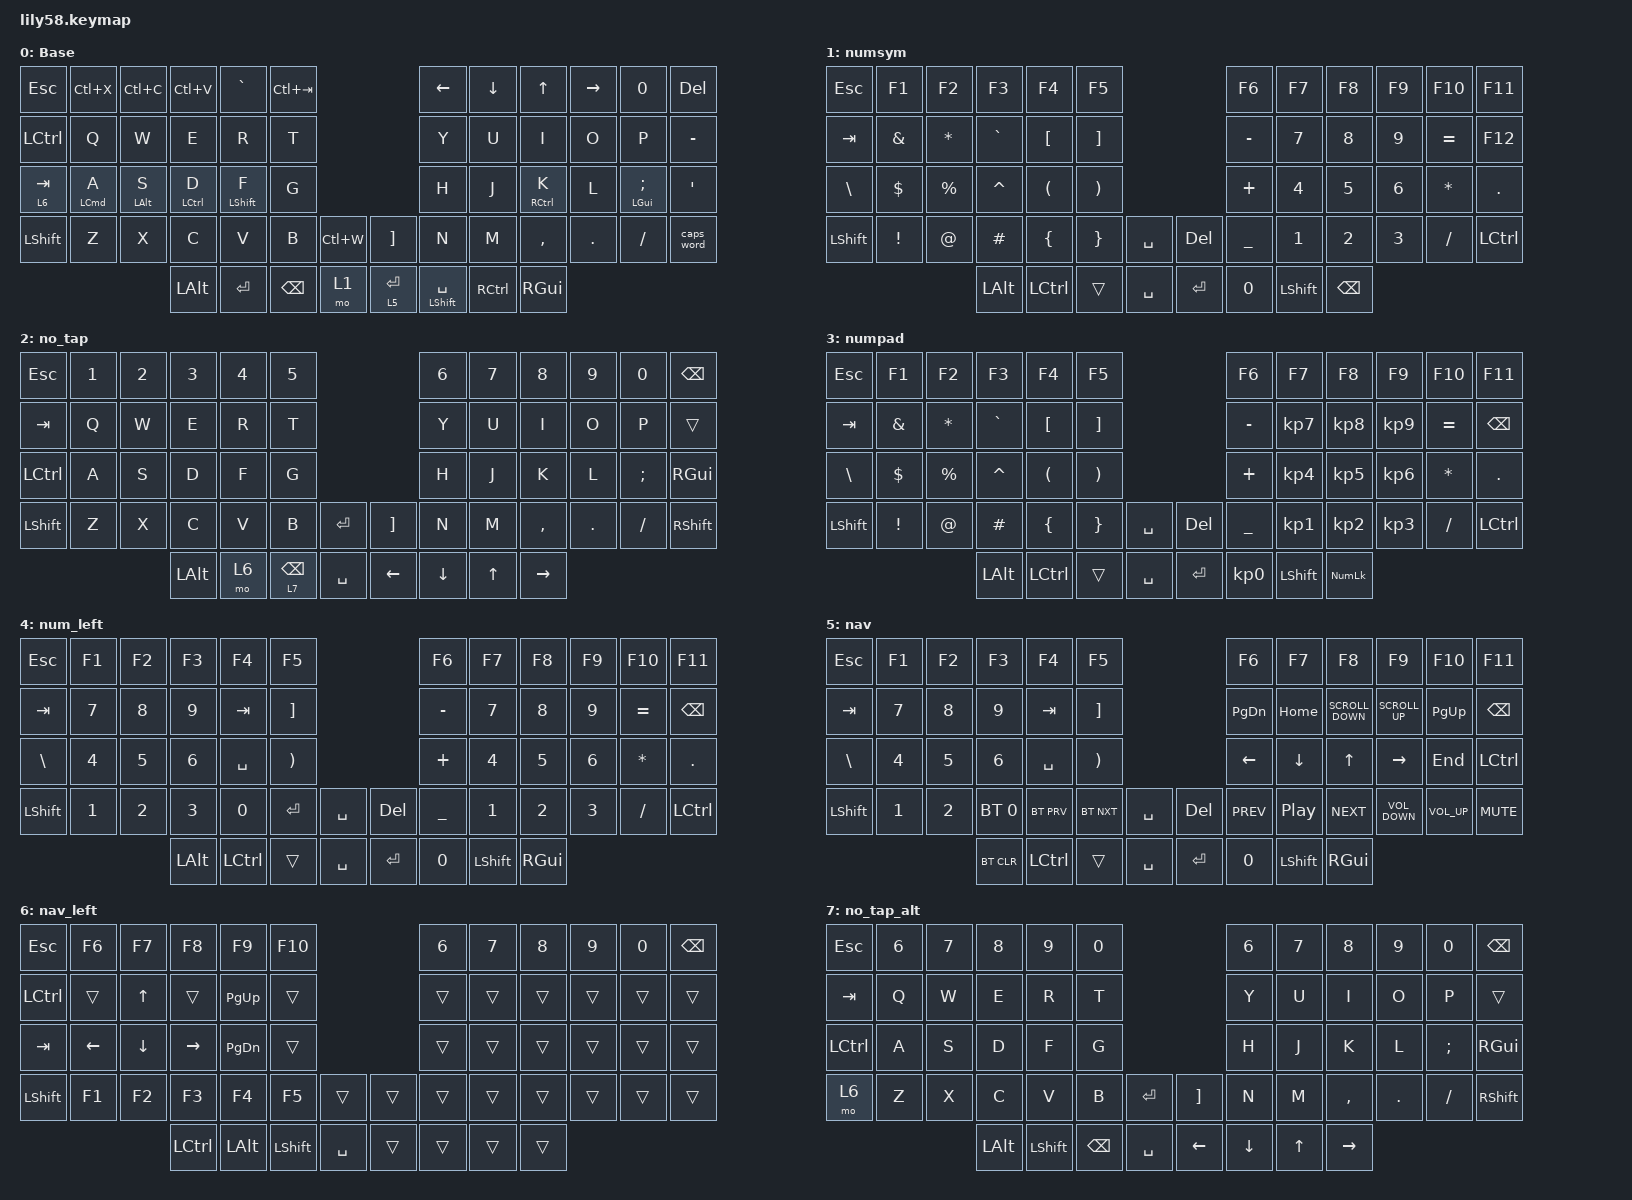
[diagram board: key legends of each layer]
/*
 * Copyright (c) 2020 The ZMK Contributors
 *
 * SPDX-License-Identifier: MIT
 */

#include <behaviors.dtsi>
#include <dt-bindings/zmk/bt.h>
#include <dt-bindings/zmk/keys.h>

&mt { flavor = "tap-preferred"; };

/ {
    combos {
        compatible = "zmk,combos";

        to_no_tap {
            bindings = <&to 2>;
            key-positions = <53 52 51>;
            layers = <0>;
        };

        back_to_base {
            bindings = <&to 0>;
            key-positions = <51 52 53>;
            layers = <2>;
        };

        to_numpad {
            bindings = <&to 3>;
            key-positions = <54 55 56>;
            layers = <0>;
        };

        np_to_base {
            bindings = <&to 0>;
            key-positions = <55 54 56>;
            layers = <3>;
        };
    };

    keymap {
        compatible = "zmk,keymap";

        default_layer {
            // ------------------------------------------------------------------------------------------------------------
            // |  ESC  |  1  |  2  |  3   |  4   |  5   |                   |  6   |  7    |  8    |  9   |   0   |   `   |
            // |  TAB  |  Q  |  W  |  E   |  R   |  T   |                   |  Y   |  U    |  I    |  O   |   P   |   -   |
            // |  CTRL |  A  |  S  |  D   |  F   |  G   |                   |  H   |  J    |  K    |  L   |   ;   |   '   |
            // | SHIFT |  Z  |  X  |  C   |  V   |  B   |   "["  |  |  "]"  |  N   |  M    |  ,    |  .   |   /   | SHIFT |
            //                     | ALT  | GUI  | LOWER|  SPACE |  | ENTER | RAISE| BSPC  | GUI   |

            display-name = "Base";
            bindings = <
&kp ESC    &kp LC(X)   &kp LC(C)   &kp LC(V)    &kp GRAVE         &kp LC(TAB)                                    &kp LEFT              &kp DOWN   &kp UP_ARROW  &kp RIGHT  &kp N0             &kp DELETE
&kp LCTRL  &kp Q       &kp W       &kp E        &kp R             &kp T                                          &kp Y                 &kp U      &kp I         &kp O      &kp P              &kp MINUS
&lt 6 TAB  &mt LCMD A  &mt LALT S  &mt LCTRL D  &mt LEFT_SHIFT F  &kp G                                          &kp H                 &kp J      &mt RCTRL K   &kp L      &mt LEFT_GUI SEMI  &kp SQT
&kp LSHFT  &kp Z       &kp X       &kp C        &kp V             &kp B          &kp LC(W)    &kp RIGHT_BRACKET  &kp N                 &kp M      &kp COMMA     &kp DOT    &kp FSLH           &caps_word
                                   &kp LALT     &kp ENTER         &kp BACKSPACE  &mo 1        &lt 5 ENTER        &mt LEFT_SHIFT SPACE  &kp RCTRL  &kp RGUI
            >;
        };

        numsym {
            // ------------------------------------------------------------------------------------------------------------
            // | BTCLR | BT1 | BT2 |  BT3 |  BT4 |  BT5 |                   |      |       |       |      |       |       |
            // |  F1   |  F2 |  F3 |  F4  |  F5  |  F6  |                   |  F7  |  F8   |  F9   |  F10 |  F11  |  F12  |
            // |   `   |  !  |  @  |  #   |  $   |  %   |                   |  ^   |  &    |  *    |  (   |   )   |   ~   |
            // |       |     |     |      |      |      |        |  |       |      |  _    |  +    |  {   |   }   |  "|"  |
            //                     |      |      |      |        |  |       |      |       |       |

            display-name = "numsym";
            bindings = <
&kp ESC    &kp F1      &kp F2     &kp F3     &kp F4                &kp F5                                         &kp F6     &kp F7     &kp F8         &kp F9  &kp F10    &kp F11
&kp TAB    &kp AMPS    &kp STAR   &kp GRAVE  &kp LBKT              &kp RBKT                                       &kp MINUS  &kp N7     &kp N8         &kp N9  &kp EQUAL  &kp F12
&kp BSLH   &kp DOLLAR  &kp PRCNT  &kp CARET  &kp LEFT_PARENTHESIS  &kp RIGHT_PARENTHESIS                          &kp PLUS   &kp N4     &kp N5         &kp N6  &kp STAR   &kp DOT
&kp LSHFT  &kp EXCL    &kp AT     &kp POUND  &kp LEFT_BRACE        &kp RIGHT_BRACE        &kp SPACE    &kp DEL    &kp UNDER  &kp N1     &kp N2         &kp N3  &kp FSLH   &kp LCTRL
                                  &kp LALT   &kp LCTRL             &trans                 &kp SPACE    &kp ENTER  &kp N0     &kp LSHFT  &kp BACKSPACE
            >;
        };

        no_tap {
            // ------------------------------------------------------------------------------------------------------------
            // |       |     |     |      |      |      |                   |      |       |       |      |       |       |
            // |   `   |  1  |  2  |  3   |  4   |  5   |                   |  6   |   7   |   8   |  9   |   0   |       |
            // |   F1  |  F2 |  F3 |  F4  |  F5  |  F6  |                   |      |   <-  |   v   |  ^   |  ->   |       |
            // |   F7  |  F8 |  F9 |  F10 |  F11 |  F12 |        |  |       |  +   |   -   |   =   |  [   |   ]   |   \   |
            //                     |      |      |      |        |  |       |      |       |       |

            display-name = "no_tap";
            bindings = <
&kp ESC         &kp N1  &kp N2  &kp N3    &kp N4  &kp N5                                  &kp N6    &kp N7        &kp N8     &kp N9   &kp N0    &kp BSPC
&kp TAB         &kp Q   &kp W   &kp E     &kp R   &kp T                                   &kp Y     &kp U         &kp I      &kp O    &kp P     &trans
&kp LCTRL       &kp A   &kp S   &kp D     &kp F   &kp G                                   &kp H     &kp J         &kp K      &kp L    &kp SEMI  &kp RIGHT_GUI
&kp LEFT_SHIFT  &kp Z   &kp X   &kp C     &kp V   &kp B            &kp ENTER    &kp RBKT  &kp N     &kp M         &kp COMMA  &kp DOT  &kp FSLH  &kp RSHFT
                                &kp LALT  &mo 6   &lt 7 BACKSPACE  &kp SPACE    &kp LEFT  &kp DOWN  &kp UP_ARROW  &kp RIGHT
            >;
        };

        numpad {
            display-name = "numpad";
            bindings = <
&kp ESC    &kp F1      &kp F2     &kp F3     &kp F4                &kp F5                                         &kp F6     &kp F7     &kp F8          &kp F9     &kp F10    &kp F11
&kp TAB    &kp AMPS    &kp STAR   &kp GRAVE  &kp LBKT              &kp RBKT                                       &kp MINUS  &kp KP_N7  &kp KP_N8       &kp KP_N9  &kp EQUAL  &kp BSPC
&kp BSLH   &kp DOLLAR  &kp PRCNT  &kp CARET  &kp LEFT_PARENTHESIS  &kp RIGHT_PARENTHESIS                          &kp PLUS   &kp KP_N4  &kp KP_N5       &kp KP_N6  &kp STAR   &kp DOT
&kp LSHFT  &kp EXCL    &kp AT     &kp POUND  &kp LEFT_BRACE        &kp RIGHT_BRACE        &kp SPACE    &kp DEL    &kp UNDER  &kp KP_N1  &kp KP_N2       &kp KP_N3  &kp FSLH   &kp LCTRL
                                  &kp LALT   &kp LCTRL             &trans                 &kp SPACE    &kp ENTER  &kp KP_N0  &kp LSHFT  &kp KP_NUMLOCK
            >;
        };

        num_left {
            display-name = "num_left";
            bindings = <
&kp ESC    &kp F1  &kp F2  &kp F3    &kp F4     &kp F5                                         &kp F6     &kp F7     &kp F8    &kp F9  &kp F10    &kp F11
&kp TAB    &kp N7  &kp N8  &kp N9    &kp TAB    &kp RBKT                                       &kp MINUS  &kp N7     &kp N8    &kp N9  &kp EQUAL  &kp BSPC
&kp BSLH   &kp N4  &kp N5  &kp N6    &kp SPACE  &kp RIGHT_PARENTHESIS                          &kp PLUS   &kp N4     &kp N5    &kp N6  &kp STAR   &kp DOT
&kp LSHFT  &kp N1  &kp N2  &kp N3    &kp N0     &kp ENTER              &kp SPACE    &kp DEL    &kp UNDER  &kp N1     &kp N2    &kp N3  &kp FSLH   &kp LCTRL
                           &kp LALT  &kp LCTRL  &trans                 &kp SPACE    &kp ENTER  &kp N0     &kp LSHFT  &kp RGUI
            >;
        };

        nav {
            display-name = "nav";
            bindings = <
&kp ESC    &kp F1  &kp F2  &kp F3        &kp F4      &kp F5                                         &kp F6      &kp F7     &kp F8             &kp F9             &kp F10          &kp F11
&kp TAB    &kp N7  &kp N8  &kp N9        &kp TAB     &kp RBKT                                       &kp PG_DN   &kp HOME   &kp K_SCROLL_DOWN  &kp K_SCROLL_UP    &kp PG_UP        &kp BSPC
&kp BSLH   &kp N4  &kp N5  &kp N6        &kp SPACE   &kp RIGHT_PARENTHESIS                          &kp LEFT    &kp DOWN   &kp UP             &kp RIGHT          &kp END          &kp LCTRL
&kp LSHFT  &kp N1  &kp N2  &bt BT_SEL 0  &bt BT_PRV  &bt BT_NXT             &kp SPACE    &kp DEL    &kp C_PREV  &kp C_PP   &kp C_NEXT         &kp C_VOLUME_DOWN  &kp C_VOLUME_UP  &kp C_MUTE
                           &bt BT_CLR    &kp LCTRL   &trans                 &kp SPACE    &kp ENTER  &kp N0      &kp LSHFT  &kp RGUI
            >;
        };

        nav_left {
            bindings = <
&kp ESC    &kp F6    &kp F7    &kp F8     &kp F9     &kp F10                              &kp N6  &kp N7  &kp N8  &kp N9  &kp N0  &kp BSPC
&kp LCTRL  &trans    &kp UP    &trans     &kp PG_UP  &trans                               &trans  &trans  &trans  &trans  &trans  &trans
&kp TAB    &kp LEFT  &kp DOWN  &kp RIGHT  &kp PG_DN  &trans                               &trans  &trans  &trans  &trans  &trans  &trans
&kp LSHFT  &kp F1    &kp F2    &kp F3     &kp F4     &kp F5          &trans       &trans  &trans  &trans  &trans  &trans  &trans  &trans
                               &kp LCTRL  &kp LALT   &kp LEFT_SHIFT  &kp SPACE    &trans  &trans  &trans  &trans
            >;

            label = "nav_left";
        };

        no_tap_alt {
            display-name = "no_tap_alt";
            bindings = <
&kp ESC    &kp N6  &kp N7  &kp N8    &kp N9          &kp N0                                &kp N6    &kp N7        &kp N8     &kp N9   &kp N0    &kp BSPC
&kp TAB    &kp Q   &kp W   &kp E     &kp R           &kp T                                 &kp Y     &kp U         &kp I      &kp O    &kp P     &trans
&kp LCTRL  &kp A   &kp S   &kp D     &kp F           &kp G                                 &kp H     &kp J         &kp K      &kp L    &kp SEMI  &kp RIGHT_GUI
&mo 6      &kp Z   &kp X   &kp C     &kp V           &kp B          &kp ENTER    &kp RBKT  &kp N     &kp M         &kp COMMA  &kp DOT  &kp FSLH  &kp RSHFT
                           &kp LALT  &kp LEFT_SHIFT  &kp BACKSPACE  &kp SPACE    &kp LEFT  &kp DOWN  &kp UP_ARROW  &kp RIGHT
            >;
        };
    };
};
